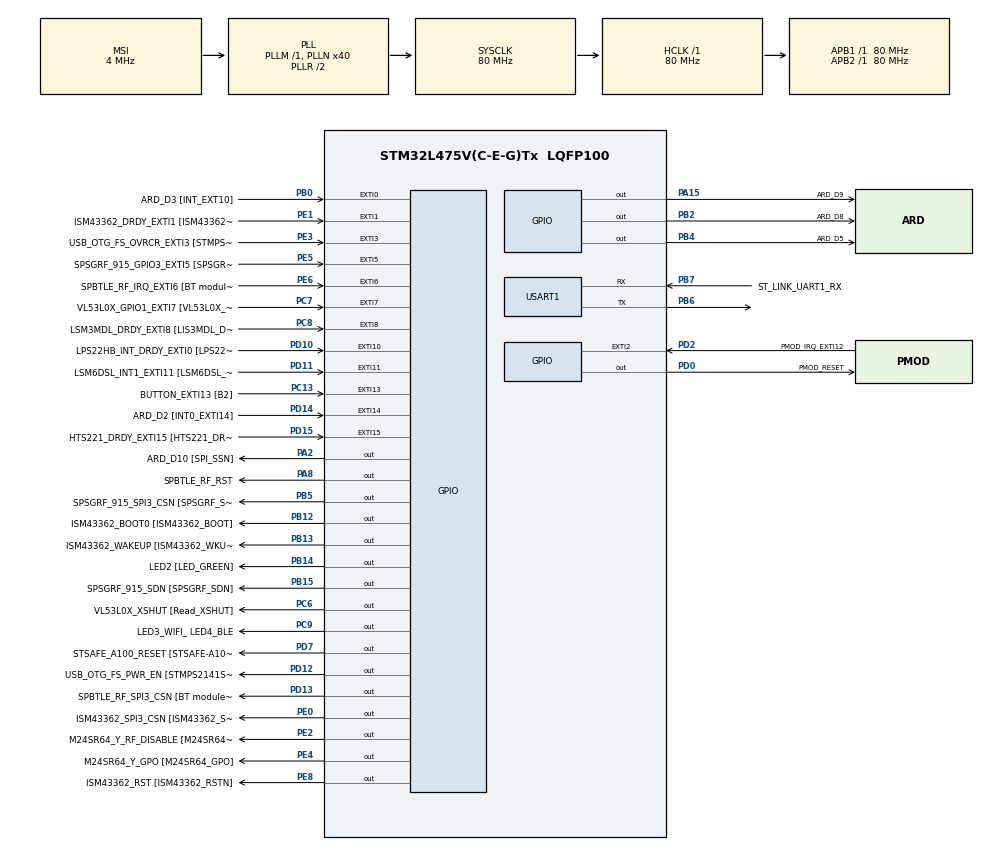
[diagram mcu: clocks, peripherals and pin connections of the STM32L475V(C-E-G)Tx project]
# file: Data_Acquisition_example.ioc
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ADC1.Channel-0\#ChannelRegularConversion=ADC_CHANNEL_TEMPSENSOR
ADC1.ContinuousConvMode=ENABLE
ADC1.DMAContinuousRequests=DISABLE
ADC1.ExternalTrigConv=ADC_EXTERNALTRIG_T1_TRGO
ADC1.NbrOfConversionFlag=1
ADC1.OffsetNumber-0\#ChannelRegularConversion=ADC_OFFSET_NONE
ADC1.Rank-0\#ChannelRegularConversion=1
ADC1.SamplingTime-0\#ChannelRegularConversion=ADC_SAMPLETIME_640CYCLES_5
ADC1.master=1
Dma.ADC1.0.Direction=DMA_PERIPH_TO_MEMORY
Dma.ADC1.0.Instance=DMA1_Channel1
Dma.ADC1.0.MemDataAlignment=DMA_MDATAALIGN_HALFWORD
Dma.ADC1.0.MemInc=DMA_MINC_ENABLE
Dma.ADC1.0.Mode=DMA_CIRCULAR
Dma.ADC1.0.PeriphDataAlignment=DMA_PDATAALIGN_HALFWORD
Dma.ADC1.0.PeriphInc=DMA_PINC_DISABLE
Dma.ADC1.0.Priority=DMA_PRIORITY_LOW
Dma.Request0=ADC1
FREERTOS.Queues01=adcqueue,4,uint8_t,0,Dynamic,NULL,NULL
FREERTOS.Tasks01=defaultTask,24,512,StartDefaultTask,Default,NULL,Dynamic,NULL,NULL
Mcu.Family=STM32L4
Mcu.Name=STM32L475V(C-E-G)Tx
Mcu.Package=LQFP100
NVIC.ADC1_2_IRQn=true\:5\:0\:true\:false\:true\:true\:true\:true\:true
NVIC.DMA1_Channel1_IRQn=true\:5\:0\:false\:false\:true\:true\:false\:true\:true
NVIC.EXTI15_10_IRQn=true\:5\:0\:true\:false\:true\:true\:true\:true\:true
NVIC.EXTI9_5_IRQn=true\:5\:0\:false\:false\:true\:true\:true\:true\:true
NVIC.PriorityGroup=NVIC_PRIORITYGROUP_4
NVIC.TIM6_DAC_IRQn=true\:15\:0\:false\:false\:true\:false\:false\:true\:true
NVIC.TimeBase=TIM6_DAC_IRQn
NVIC.TimeBaseIP=TIM6
PA0.GPIO_Label=ARD_D1 [UART4_TX]
PA0.Signal=UART4_TX
PA1.GPIO_Label=ARD_D0 [UART4_RX]
PA1.Signal=UART4_RX
PA10.GPIO_Label=USB_OTG_FS_ID
PA10.Signal=USB_OTG_FS_ID
PA11.GPIO_Label=USB_OTG_FS_DM
PA11.Signal=USB_OTG_FS_DM
PA12.GPIO_Label=USB_OTG_FS_DP
PA12.Signal=USB_OTG_FS_DP
PA13\ (JTMS-SWDIO).GPIO_Label=SYS_JTMS_SWDIO
PA13\ (JTMS-SWDIO).Mode=Serial_Wire
PA13\ (JTMS-SWDIO).Signal=SYS_JTMS-SWDIO
PA14\ (JTCK-SWCLK).GPIO_Label=SYS_JTCK_SWCLK
PA14\ (JTCK-SWCLK).Mode=Serial_Wire
PA14\ (JTCK-SWCLK).Signal=SYS_JTCK-SWCLK
PA15\ (JTDI).GPIO_Label=ARD_D9
PA15\ (JTDI).Signal=GPIO_Output
PA2.GPIO_Label=ARD_D10 [SPI_SSN]
PA2.Signal=GPIO_Output
PA3.GPIO_Label=ARD_D4
PA3.Signal=S_TIM2_CH4
PA4.GPIO_Label=ARD_D7
PA4.Signal=ADCx_IN9
PA5.GPIO_Label=ARD_D13 [SPI1_SCK]
PA5.Signal=SPI1_SCK
PA6.GPIO_Label=ARD_D12 [SPI1_MISO]
PA6.Signal=SPI1_MISO
PA7.GPIO_Label=ARD_D11 [SPI1_MOSI]
PA7.Signal=SPI1_MOSI
PA8.GPIO_Label=SPBTLE_RF_RST
PA8.Signal=GPIO_Output
PA9.GPIO_Label=USB_OTG_FS_VBUS [STMPS2141STR_OUT]
PA9.Signal=USB_OTG_FS_VBUS
PB0.GPIO_Label=ARD_D3 [INT_EXT10]
PB0.Signal=GPXTI0
PB1.GPIO_Label=ARD_D6 [ADC1_IN6]
PB1.Signal=ADCx_IN16
PB10.GPIO_Label=INTERNAL_I2C2_SCL [VL53L0X_SCL]
PB10.Signal=I2C2_SCL
PB11.GPIO_Label=INTERNAL_I2C2_SDA [VL53L0X_SDA]
PB11.Signal=I2C2_SDA
PB12.GPIO_Label=ISM43362_BOOT0 [ISM43362_BOOT]
PB12.Signal=GPIO_Output
PB13.GPIO_Label=ISM43362_WAKEUP [ISM43362_WKUP]
PB13.Signal=GPIO_Output
PB14.GPIO_Label=LED2 [LED_GREEN]
PB14.Signal=GPIO_Output
PB15.GPIO_Label=SPSGRF_915_SDN [SPSGRF_SDN]
PB15.Signal=GPIO_Output
PB2.GPIO_Label=ARD_D8
PB2.Signal=GPIO_Output
PB3\ (JTDO-TRACESWO).GPIO_Label=SYS_JTD0_SWO
PB3\ (JTDO-TRACESWO).Signal=SYS_JTDO-SWO
PB4\ (NJTRST).GPIO_Label=ARD_D5
PB4\ (NJTRST).Signal=GPIO_Output
PB5.GPIO_Label=SPSGRF_915_SPI3_CSN [SPSGRF_SPI_CS]
PB5.PinState=GPIO_PIN_SET
PB5.Signal=GPIO_Output
PB6.Mode=Asynchronous
PB6.Signal=USART1_TX
PB7.GPIO_Label=ST_LINK_UART1_RX
PB7.Mode=Asynchronous
PB7.Signal=USART1_RX
PB8.GPIO_Label=ARD_D15 [I2C1_SCL]
PB8.Signal=I2C1_SCL
PB9.GPIO_Label=ARD_D14 [I2C1_SDA]
PB9.Signal=I2C1_SDA
PC0.GPIO_Label=ARD_A5 [ADC]
PC0.Signal=ADCx_IN1
PC1.GPIO_Label=ARD_A4 [ADC]
PC1.Signal=ADCx_IN2
PC10.GPIO_Label=INTERNAL_SPI3_SCK [BT module_SPI_SCLK] [ISM43362_SCK]
PC10.Signal=SPI3_SCK
PC11.GPIO_Label=INTERNAL_SPI3_MISO [BT module_SPI_MISO] [ISM43362_MISO]
PC11.Signal=SPI3_MISO
PC12.GPIO_Label=INTERNAL_SPI3_MOSI [BT module_SPI_MOSI] [ISM43362_MOSI]
PC12.Signal=SPI3_MOSI
PC13.GPIO_Label=BUTTON_EXTI13 [B2]
PC13.GPIO_ModeDefaultEXTI=GPIO_MODE_IT_FALLING
PC13.Signal=GPXTI13
PC14-OSC32_IN\ (PC14).Signal=RCC_OSC32_IN
PC15-OSC32_OUT\ (PC15).Signal=RCC_OSC32_OUT
PC2.GPIO_Label=ARD_A3 [ADC]
PC2.Signal=ADCx_IN3
PC3.GPIO_Label=ARD_A2 [ADC]
PC3.Signal=ADCx_IN4
PC4.GPIO_Label=ARD_A1 [ADC]
PC4.Signal=ADCx_IN13
PC5.GPIO_Label=ARD_A0 [ADC]
PC5.Signal=ADCx_IN14
PC6.GPIO_Label=VL53L0X_XSHUT [Read_XSHUT]
PC6.Signal=GPIO_Output
PC7.GPIO_Label=VL53L0X_GPIO1_EXTI7 [VL53L0X_GPIO1]
PC7.Signal=GPXTI7
PC8.GPIO_Label=LSM3MDL_DRDY_EXTI8 [LIS3MDL_DRDY]
PC8.Signal=GPXTI8
PC9.GPIO_Label=LED3_WIFI_ LED4_BLE
PC9.Signal=GPIO_Output
PD0.GPIO_Label=PMOD_RESET
PD0.Signal=GPIO_Output
PD1.GPIO_Label=PMOD_SPI2_SCK
PD1.Signal=SPI2_SCK
PD10.GPIO_Label=LPS22HB_INT_DRDY_EXTI0 [LPS22HB_INT_DRDY] 
PD10.Signal=GPXTI10
PD11.GPIO_Label=LSM6DSL_INT1_EXTI11 [LSM6DSL_INT1]
PD11.Signal=GPXTI11
PD12.GPIO_Label=USB_OTG_FS_PWR_EN [STMPS2141STR_EN]
PD12.Signal=GPIO_Output
PD13.GPIO_Label=SPBTLE_RF_SPI3_CSN [BT module_SPI_CS]
PD13.PinState=GPIO_PIN_SET
PD13.Signal=GPIO_Output
PD14.GPIO_Label=ARD_D2 [INT0_EXTI14]
PD14.Signal=GPXTI14
PD15.GPIO_Label=HTS221_DRDY_EXTI15 [HTS221_DRDY]
PD15.Signal=GPXTI15
PD2.GPIO_Label=PMOD_IRQ_EXTI12
PD2.Signal=GPXTI2
PD3.GPIO_Label=PMOD_UART2_CTS
PD3.Signal=USART2_CTS
PD4.GPIO_Label=PMOD_UART2_RTS
PD4.Signal=USART2_RTS
PD5.GPIO_Label=PMOD_UART2_TX
PD5.Signal=USART2_TX
PD6.GPIO_Label=PMOD_UART2_RX
PD6.Signal=USART2_RX
PD7.GPIO_Label=STSAFE_A100_RESET [STSAFE-A100_RESET]
PD7.Signal=GPIO_Output
PD8.GPIO_Label=INTERNAL_UART3_TX [ISM43362_RX]
PD8.Signal=USART3_TX
PD9.GPIO_Label=INTERNAL_UART3_RX [ISM43362_TX]
PD9.Signal=USART3_RX
PE0.GPIO_Label=ISM43362_SPI3_CSN [ISM43362_SSN]
PE0.PinState=GPIO_PIN_SET
PE0.Signal=GPIO_Output
PE1.GPIO_Label=ISM43362_DRDY_EXTI1 [ISM43362_DATARDY]
PE1.Signal=GPXTI1
PE10.GPIO_Label=QUADSPI_CLK [MX25R6435F_SCLK]
PE10.Signal=QUADSPI_CLK
PE11.GPIO_Label=QUADSPI_NCS [MX25R6435F_SCLK]
PE11.Signal=QUADSPI_NCS
PE12.GPIO_Label=OQUADSPI_BK1_IO0 [MX25R6435F_IO0]
PE12.Signal=QUADSPI_BK1_IO0
PE13.GPIO_Label=QUADSPI_BK1_IO1 [MX25R6435F_IO1]
PE13.Signal=QUADSPI_BK1_IO1
PE14.GPIO_Label=QUAD_SPI_BK1_IO2 [MX25R6435F_IO2]
PE14.Signal=QUADSPI_BK1_IO2
PE15.GPIO_Label=QUAD_SPI_BK1_IO3 [MX25R6435F_IO3]
PE15.Signal=QUADSPI_BK1_IO3
PE2.GPIO_Label=M24SR64_Y_RF_DISABLE [M24SR64_RFDIS]
PE2.Signal=GPIO_Output
PE3.GPIO_Label=USB_OTG_FS_OVRCR_EXTI3 [STMPS2141STR_FAULT]
PE3.Signal=GPXTI3
PE4.GPIO_Label=M24SR64_Y_GPO [M24SR64_GPO]
PE4.Signal=GPIO_Output
PE5.GPIO_Label=SPSGRF_915_GPIO3_EXTI5 [SPSGRF_GPIO_3]
PE5.Signal=GPXTI5
PE6.GPIO_Label=SPBTLE_RF_IRQ_EXTI6 [BT module_SPI_IRQ]
PE6.Signal=GPXTI6
PE7.GPIO_Label=DFSDM1_DATIN2 [MP34DT01_DOUT]
PE7.Signal=S_DATAIN2DFSDM1
PE8.GPIO_Label=ISM43362_RST [ISM43362_RSTN]
PE8.Signal=GPIO_Output
PE9.GPIO_Label=DFSDM1_CKOUT [MP34DT01_CLK]
PE9.Signal=S_CKOUTDFSDM1
ProjectManager.HeapSize=0x200
ProjectManager.StackSize=0x400
ProjectManager.TargetToolchain=STM32CubeIDE
RCC.ADCFreq_Value=48000000
RCC.AHBFreq_Value=80000000
RCC.APB1Freq_Value=80000000
RCC.APB1TimFreq_Value=80000000
RCC.APB2Freq_Value=80000000
RCC.APB2TimFreq_Value=80000000
RCC.CortexFreq_Value=80000000
RCC.HCLKFreq_Value=80000000
RCC.HSE_VALUE=8000000
RCC.HSI_VALUE=16000000
RCC.LSE_VALUE=32768
RCC.MSI_VALUE=4000000
RCC.PLLN=40
RCC.PLLSAI1N=24
RCC.SYSCLKFreq_VALUE=80000000
RCC.SYSCLKSource=RCC_SYSCLKSOURCE_PLLCLK
RCC.USBFreq_Value=48000000
RCC.VCOOutputFreq_Value=160000000
SH.ADCx_IN1.0=ADC1_IN1
SH.ADCx_IN13.0=ADC1_IN13
SH.ADCx_IN14.0=ADC1_IN14
SH.ADCx_IN16.0=ADC1_IN16
SH.ADCx_IN2.0=ADC1_IN2
SH.ADCx_IN3.0=ADC1_IN3
SH.ADCx_IN4.0=ADC1_IN4
SH.ADCx_IN9.0=ADC1_IN9
SH.S_CKOUTDFSDM1.0=DFSDM1_CKOUT
SH.S_DATAIN2DFSDM1.0=DFSDM1_DATIN2
SH.S_TIM2_CH4.0=TIM2_CH4
TIM1.Period=100-1
TIM1.Prescaler=8000-1
TIM1.TIM_MasterOutputTrigger=TIM_TRGO_UPDATE
TIM1.TIM_MasterOutputTrigger2=TIM_TRGO2_RESET
USART1.VirtualMode-Asynchronous=VM_ASYNC
VP_ADC1_TempSens_Input.Mode=IN-TempSens
VP_FREERTOS_VS_CMSIS_V2.Mode=CMSIS_V2
VP_SYS_VS_tim6.Mode=TIM6
VP_TIM1_VS_ClockSourceINT.Mode=Internal
board=B-L475E-IOT01A1

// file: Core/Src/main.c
/* USER CODE BEGIN Header */
/**
  ******************************************************************************
  * @file           : main.c
  * @brief          : Main program body
  ******************************************************************************
  * @attention
  *
  * Copyright (c) 2026 STMicroelectronics.
  * All rights reserved.
  *
  * This software is licensed under terms that can be found in the LICENSE file
  * in the root directory of this software component.
  * If no LICENSE file comes with this software, it is provided AS-IS.
  *
  ******************************************************************************
  */
/* USER CODE END Header */
#include "main.h"
#include "cmsis_os.h"

/* USER CODE BEGIN Includes */
#include <stdio.h>
/* USER CODE END Includes */

ADC_HandleTypeDef hadc1;
DMA_HandleTypeDef hdma_adc1;

TIM_HandleTypeDef htim1;

UART_HandleTypeDef huart1;

/* Definitions for defaultTask */
osThreadId_t defaultTaskHandle;
const osThreadAttr_t defaultTask_attributes = {
  .name = "defaultTask",
  .stack_size = 512 * 4,
  .priority = (osPriority_t) osPriorityNormal,
};
/* Definitions for adcqueue */
osMessageQueueId_t adcqueueHandle;
const osMessageQueueAttr_t adcqueue_attributes = {
  .name = "adcqueue"
};
/* USER CODE BEGIN PV */
#define SAMPLE_BUFFER_SIZE  32
uint16_t sample_buffer[SAMPLE_BUFFER_SIZE];
/* USER CODE END PV */

void SystemClock_Config(void);
static void MX_GPIO_Init(void);
static void MX_DMA_Init(void);
static void MX_ADC1_Init(void);
static void MX_USART1_UART_Init(void);
static void MX_TIM1_Init(void);
void StartDefaultTask(void *argument);

int main(void)
{

  /* MCU Configuration--------------------------------------------------------*/

  /* Reset of all peripherals, Initializes the Flash interface and the Systick. */
  HAL_Init();

  /* Configure the system clock */
  SystemClock_Config();

  /* Initialize all configured peripherals */
  MX_GPIO_Init();
  MX_DMA_Init();
  MX_ADC1_Init();
  MX_USART1_UART_Init();
  MX_TIM1_Init();

  /* Init scheduler */
  osKernelInitialize();

  /* Create the queue(s) */
  /* creation of adcqueue */
  adcqueueHandle = osMessageQueueNew (4, sizeof(uint8_t), &adcqueue_attributes);

  /* Create the thread(s) */
  /* creation of defaultTask */
  defaultTaskHandle = osThreadNew(StartDefaultTask, NULL, &defaultTask_attributes);

  /* Start scheduler */
  osKernelStart();

  /* We should never get here as control is now taken by the scheduler */

  /* Infinite loop */
  while (1)
  {

  }
}

void SystemClock_Config(void)
{
  RCC_OscInitTypeDef RCC_OscInitStruct = {0};
  RCC_ClkInitTypeDef RCC_ClkInitStruct = {0};

  /** Configure the main internal regulator output voltage
  */
  if (HAL_PWREx_ControlVoltageScaling(PWR_REGULATOR_VOLTAGE_SCALE1) != HAL_OK)
  {
    Error_Handler();
  }

  /** Initializes the RCC Oscillators according to the specified parameters
  * in the RCC_OscInitTypeDef structure.
  */
  RCC_OscInitStruct.OscillatorType = RCC_OSCILLATORTYPE_MSI;
  RCC_OscInitStruct.MSIState = RCC_MSI_ON;
  RCC_OscInitStruct.MSICalibrationValue = 0;
  RCC_OscInitStruct.MSIClockRange = RCC_MSIRANGE_6;
  RCC_OscInitStruct.PLL.PLLState = RCC_PLL_ON;
  RCC_OscInitStruct.PLL.PLLSource = RCC_PLLSOURCE_MSI;
  RCC_OscInitStruct.PLL.PLLM = 1;
  RCC_OscInitStruct.PLL.PLLN = 40;
  RCC_OscInitStruct.PLL.PLLP = RCC_PLLP_DIV7;
  RCC_OscInitStruct.PLL.PLLQ = RCC_PLLQ_DIV2;
  RCC_OscInitStruct.PLL.PLLR = RCC_PLLR_DIV2;
  if (HAL_RCC_OscConfig(&RCC_OscInitStruct) != HAL_OK)
  {
    Error_Handler();
  }

  /** Initializes the CPU, AHB and APB buses clocks
  */
  RCC_ClkInitStruct.ClockType = RCC_CLOCKTYPE_HCLK|RCC_CLOCKTYPE_SYSCLK
                              |RCC_CLOCKTYPE_PCLK1|RCC_CLOCKTYPE_PCLK2;
  RCC_ClkInitStruct.SYSCLKSource = RCC_SYSCLKSOURCE_PLLCLK;
  RCC_ClkInitStruct.AHBCLKDivider = RCC_SYSCLK_DIV1;
  RCC_ClkInitStruct.APB1CLKDivider = RCC_HCLK_DIV1;
  RCC_ClkInitStruct.APB2CLKDivider = RCC_HCLK_DIV1;

  if (HAL_RCC_ClockConfig(&RCC_ClkInitStruct, FLASH_LATENCY_4) != HAL_OK)
  {
    Error_Handler();
  }
}

static void MX_ADC1_Init(void)
{

  ADC_MultiModeTypeDef multimode = {0};
  ADC_ChannelConfTypeDef sConfig = {0};

  /** Common config
  */
  hadc1.Instance = ADC1;
  hadc1.Init.ClockPrescaler = ADC_CLOCK_ASYNC_DIV1;
  hadc1.Init.Resolution = ADC_RESOLUTION_12B;
  hadc1.Init.DataAlign = ADC_DATAALIGN_RIGHT;
  hadc1.Init.ScanConvMode = ADC_SCAN_DISABLE;
  hadc1.Init.EOCSelection = ADC_EOC_SINGLE_CONV;
  hadc1.Init.LowPowerAutoWait = DISABLE;
  hadc1.Init.ContinuousConvMode = DISABLE;
  hadc1.Init.NbrOfConversion = 1;
  hadc1.Init.DiscontinuousConvMode = DISABLE;
  hadc1.Init.ExternalTrigConv = ADC_EXTERNALTRIG_T1_TRGO;
  hadc1.Init.ExternalTrigConvEdge = ADC_EXTERNALTRIGCONVEDGE_RISING;
  hadc1.Init.DMAContinuousRequests = ENABLE;
  hadc1.Init.Overrun = ADC_OVR_DATA_PRESERVED;
  hadc1.Init.OversamplingMode = DISABLE;
  if (HAL_ADC_Init(&hadc1) != HAL_OK)
  {
    Error_Handler();
  }

  /** Configure the ADC multi-mode
  */
  multimode.Mode = ADC_MODE_INDEPENDENT;
  if (HAL_ADCEx_MultiModeConfigChannel(&hadc1, &multimode) != HAL_OK)
  {
    Error_Handler();
  }

  /** Configure Regular Channel
  */
  sConfig.Channel = ADC_CHANNEL_TEMPSENSOR;
  sConfig.Rank = ADC_REGULAR_RANK_1;
  sConfig.SamplingTime = ADC_SAMPLETIME_640CYCLES_5;
  sConfig.SingleDiff = ADC_SINGLE_ENDED;
  sConfig.OffsetNumber = ADC_OFFSET_NONE;
  sConfig.Offset = 0;
  if (HAL_ADC_ConfigChannel(&hadc1, &sConfig) != HAL_OK)
  {
    Error_Handler();
  }

}

static void MX_TIM1_Init(void)
{

  TIM_ClockConfigTypeDef sClockSourceConfig = {0};
  TIM_MasterConfigTypeDef sMasterConfig = {0};

  htim1.Instance = TIM1;
  htim1.Init.Prescaler = 8000-1;
  htim1.Init.CounterMode = TIM_COUNTERMODE_UP;
  htim1.Init.Period = 1000-1;
  htim1.Init.ClockDivision = TIM_CLOCKDIVISION_DIV1;
  htim1.Init.RepetitionCounter = 0;
  htim1.Init.AutoReloadPreload = TIM_AUTORELOAD_PRELOAD_DISABLE;
  if (HAL_TIM_Base_Init(&htim1) != HAL_OK)
  {
    Error_Handler();
  }
  sClockSourceConfig.ClockSource = TIM_CLOCKSOURCE_INTERNAL;
  if (HAL_TIM_ConfigClockSource(&htim1, &sClockSourceConfig) != HAL_OK)
  {
    Error_Handler();
  }
  sMasterConfig.MasterOutputTrigger = TIM_TRGO_UPDATE;
  sMasterConfig.MasterOutputTrigger2 = TIM_TRGO2_RESET;
  sMasterConfig.MasterSlaveMode = TIM_MASTERSLAVEMODE_DISABLE;
  if (HAL_TIMEx_MasterConfigSynchronization(&htim1, &sMasterConfig) != HAL_OK)
  {
    Error_Handler();
  }

}

static void MX_USART1_UART_Init(void)
{

  huart1.Instance = USART1;
  huart1.Init.BaudRate = 115200;
  huart1.Init.WordLength = UART_WORDLENGTH_8B;
  huart1.Init.StopBits = UART_STOPBITS_1;
  huart1.Init.Parity = UART_PARITY_NONE;
  huart1.Init.Mode = UART_MODE_TX_RX;
  huart1.Init.HwFlowCtl = UART_HWCONTROL_NONE;
  huart1.Init.OverSampling = UART_OVERSAMPLING_16;
  huart1.Init.OneBitSampling = UART_ONE_BIT_SAMPLE_DISABLE;
  huart1.AdvancedInit.AdvFeatureInit = UART_ADVFEATURE_NO_INIT;
  if (HAL_UART_Init(&huart1) != HAL_OK)
  {
    Error_Handler();
  }

}

static void MX_DMA_Init(void)
{

  /* DMA controller clock enable */
  __HAL_RCC_DMA1_CLK_ENABLE();

  /* DMA interrupt init */
  /* DMA1_Channel1_IRQn interrupt configuration */
  HAL_NVIC_SetPriority(DMA1_Channel1_IRQn, 5, 0);
  HAL_NVIC_EnableIRQ(DMA1_Channel1_IRQn);

}

static void MX_GPIO_Init(void)
{
  GPIO_InitTypeDef GPIO_InitStruct = {0};

  /* GPIO Ports Clock Enable */
  __HAL_RCC_GPIOE_CLK_ENABLE();
  __HAL_RCC_GPIOC_CLK_ENABLE();
  __HAL_RCC_GPIOA_CLK_ENABLE();
  __HAL_RCC_GPIOB_CLK_ENABLE();
  __HAL_RCC_GPIOD_CLK_ENABLE();

  /*Configure GPIO pin Output Level */
  HAL_GPIO_WritePin(GPIOE, M24SR64_Y_RF_DISABLE_Pin|M24SR64_Y_GPO_Pin|ISM43362_RST_Pin, GPIO_PIN_RESET);

  /*Configure GPIO pin Output Level */
  HAL_GPIO_WritePin(GPIOA, ARD_D10_Pin|SPBTLE_RF_RST_Pin|ARD_D9_Pin, GPIO_PIN_RESET);

  /*Configure GPIO pin Output Level */
  HAL_GPIO_WritePin(GPIOB, ARD_D8_Pin|ISM43362_BOOT0_Pin|ISM43362_WAKEUP_Pin|LED2_Pin
                          |SPSGRF_915_SDN_Pin|ARD_D5_Pin, GPIO_PIN_RESET);

  /*Configure GPIO pin Output Level */
  HAL_GPIO_WritePin(GPIOD, USB_OTG_FS_PWR_EN_Pin|PMOD_RESET_Pin|STSAFE_A100_RESET_Pin, GPIO_PIN_RESET);

  /*Configure GPIO pin Output Level */
  HAL_GPIO_WritePin(SPBTLE_RF_SPI3_CSN_GPIO_Port, SPBTLE_RF_SPI3_CSN_Pin, GPIO_PIN_SET);

  /*Configure GPIO pin Output Level */
  HAL_GPIO_WritePin(GPIOC, VL53L0X_XSHUT_Pin|LED3_WIFI__LED4_BLE_Pin, GPIO_PIN_RESET);

  /*Configure GPIO pin Output Level */
  HAL_GPIO_WritePin(SPSGRF_915_SPI3_CSN_GPIO_Port, SPSGRF_915_SPI3_CSN_Pin, GPIO_PIN_SET);

  /*Configure GPIO pin Output Level */
  HAL_GPIO_WritePin(ISM43362_SPI3_CSN_GPIO_Port, ISM43362_SPI3_CSN_Pin, GPIO_PIN_SET);

  /*Configure GPIO pins : M24SR64_Y_RF_DISABLE_Pin M24SR64_Y_GPO_Pin ISM43362_RST_Pin ISM43362_SPI3_CSN_Pin */
  GPIO_InitStruct.Pin = M24SR64_Y_RF_DISABLE_Pin|M24SR64_Y_GPO_Pin|ISM43362_RST_Pin|ISM43362_SPI3_CSN_Pin;
  GPIO_InitStruct.Mode = GPIO_MODE_OUTPUT_PP;
  GPIO_InitStruct.Pull = GPIO_NOPULL;
  GPIO_InitStruct.Speed = GPIO_SPEED_FREQ_LOW;
  HAL_GPIO_Init(GPIOE, &GPIO_InitStruct);

  /*Configure GPIO pins : USB_OTG_FS_OVRCR_EXTI3_Pin SPSGRF_915_GPIO3_EXTI5_Pin SPBTLE_RF_IRQ_EXTI6_Pin ISM43362_DRDY_EXTI1_Pin */
  GPIO_InitStruct.Pin = USB_OTG_FS_OVRCR_EXTI3_Pin|SPSGRF_915_GPIO3_EXTI5_Pin|SPBTLE_RF_IRQ_EXTI6_Pin|ISM43362_DRDY_EXTI1_Pin;
  GPIO_InitStruct.Mode = GPIO_MODE_IT_RISING;
  GPIO_InitStruct.Pull = GPIO_NOPULL;
  HAL_GPIO_Init(GPIOE, &GPIO_InitStruct);

  /*Configure GPIO pin : BUTTON_EXTI13_Pin */
  GPIO_InitStruct.Pin = BUTTON_EXTI13_Pin;
  GPIO_InitStruct.Mode = GPIO_MODE_IT_FALLING;
  GPIO_InitStruct.Pull = GPIO_NOPULL;
  HAL_GPIO_Init(BUTTON_EXTI13_GPIO_Port, &GPIO_InitStruct);

  /*Configure GPIO pins : ARD_D1_Pin ARD_D0_Pin */
  GPIO_InitStruct.Pin = ARD_D1_Pin|ARD_D0_Pin;
  GPIO_InitStruct.Mode = GPIO_MODE_AF_PP;
  GPIO_InitStruct.Pull = GPIO_NOPULL;
  GPIO_InitStruct.Speed = GPIO_SPEED_FREQ_VERY_HIGH;
  GPIO_InitStruct.Alternate = GPIO_AF8_UART4;
  HAL_GPIO_Init(GPIOA, &GPIO_InitStruct);

  /*Configure GPIO pins : ARD_D10_Pin SPBTLE_RF_RST_Pin ARD_D9_Pin */
  GPIO_InitStruct.Pin = ARD_D10_Pin|SPBTLE_RF_RST_Pin|ARD_D9_Pin;
  GPIO_InitStruct.Mode = GPIO_MODE_OUTPUT_PP;
  GPIO_InitStruct.Pull = GPIO_NOPULL;
  GPIO_InitStruct.Speed = GPIO_SPEED_FREQ_LOW;
  HAL_GPIO_Init(GPIOA, &GPIO_InitStruct);

  /*Configure GPIO pin : ARD_D4_Pin */
  GPIO_InitStruct.Pin = ARD_D4_Pin;
  GPIO_InitStruct.Mode = GPIO_MODE_AF_PP;
  GPIO_InitStruct.Pull = GPIO_NOPULL;
  GPIO_InitStruct.Speed = GPIO_SPEED_FREQ_LOW;
  GPIO_InitStruct.Alternate = GPIO_AF1_TIM2;
  HAL_GPIO_Init(ARD_D4_GPIO_Port, &GPIO_InitStruct);

  /*Configure GPIO pins : ARD_D13_Pin ARD_D12_Pin ARD_D11_Pin */
  GPIO_InitStruct.Pin = ARD_D13_Pin|ARD_D12_Pin|ARD_D11_Pin;
  GPIO_InitStruct.Mode = GPIO_MODE_AF_PP;
  GPIO_InitStruct.Pull = GPIO_NOPULL;
  GPIO_InitStruct.Speed = GPIO_SPEED_FREQ_VERY_HIGH;
  GPIO_InitStruct.Alternate = GPIO_AF5_SPI1;
  HAL_GPIO_Init(GPIOA, &GPIO_InitStruct);

  /*Configure GPIO pin : ARD_D3_Pin */
  GPIO_InitStruct.Pin = ARD_D3_Pin;
  GPIO_InitStruct.Mode = GPIO_MODE_IT_RISING;
  GPIO_InitStruct.Pull = GPIO_NOPULL;
  HAL_GPIO_Init(ARD_D3_GPIO_Port, &GPIO_InitStruct);

  /*Configure GPIO pins : ARD_D8_Pin ISM43362_BOOT0_Pin ISM43362_WAKEUP_Pin LED2_Pin
                           SPSGRF_915_SDN_Pin ARD_D5_Pin SPSGRF_915_SPI3_CSN_Pin */
  GPIO_InitStruct.Pin = ARD_D8_Pin|ISM43362_BOOT0_Pin|ISM43362_WAKEUP_Pin|LED2_Pin
                          |SPSGRF_915_SDN_Pin|ARD_D5_Pin|SPSGRF_915_SPI3_CSN_Pin;
  GPIO_InitStruct.Mode = GPIO_MODE_OUTPUT_PP;
  GPIO_InitStruct.Pull = GPIO_NOPULL;
  GPIO_InitStruct.Speed = GPIO_SPEED_FREQ_LOW;
  HAL_GPIO_Init(GPIOB, &GPIO_InitStruct);

  /*Configure GPIO pins : DFSDM1_DATIN2_Pin DFSDM1_CKOUT_Pin */
  GPIO_InitStruct.Pin = DFSDM1_DATIN2_Pin|DFSDM1_CKOUT_Pin;
  GPIO_InitStruct.Mode = GPIO_MODE_AF_PP;
  GPIO_InitStruct.Pull = GPIO_NOPULL;
  GPIO_InitStruct.Speed = GPIO_SPEED_FREQ_LOW;
  GPIO_InitStruct.Alternate = GPIO_AF6_DFSDM1;
  HAL_GPIO_Init(GPIOE, &GPIO_InitStruct);

  /*Configure GPIO pins : QUADSPI_CLK_Pin QUADSPI_NCS_Pin OQUADSPI_BK1_IO0_Pin QUADSPI_BK1_IO1_Pin
                           QUAD_SPI_BK1_IO2_Pin QUAD_SPI_BK1_IO3_Pin */
  GPIO_InitStruct.Pin = QUADSPI_CLK_Pin|QUADSPI_NCS_Pin|OQUADSPI_BK1_IO0_Pin|QUADSPI_BK1_IO1_Pin
                          |QUAD_SPI_BK1_IO2_Pin|QUAD_SPI_BK1_IO3_Pin;
  GPIO_InitStruct.Mode = GPIO_MODE_AF_PP;
  GPIO_InitStruct.Pull = GPIO_NOPULL;
  GPIO_InitStruct.Speed = GPIO_SPEED_FREQ_VERY_HIGH;
  GPIO_InitStruct.Alternate = GPIO_AF10_QUADSPI;
  HAL_GPIO_Init(GPIOE, &GPIO_InitStruct);

  /*Configure GPIO pins : INTERNAL_I2C2_SCL_Pin INTERNAL_I2C2_SDA_Pin */
  GPIO_InitStruct.Pin = INTERNAL_I2C2_SCL_Pin|INTERNAL_I2C2_SDA_Pin;
  GPIO_InitStruct.Mode = GPIO_MODE_AF_OD;
  GPIO_InitStruct.Pull = GPIO_NOPULL;
  GPIO_InitStruct.Speed = GPIO_SPEED_FREQ_VERY_HIGH;
  GPIO_InitStruct.Alternate = GPIO_AF4_I2C2;
  HAL_GPIO_Init(GPIOB, &GPIO_InitStruct);

  /*Configure GPIO pins : INTERNAL_UART3_TX_Pin INTERNAL_UART3_RX_Pin */
  GPIO_InitStruct.Pin = INTERNAL_UART3_TX_Pin|INTERNAL_UART3_RX_Pin;
  GPIO_InitStruct.Mode = GPIO_MODE_AF_PP;
  GPIO_InitStruct.Pull = GPIO_NOPULL;
  GPIO_InitStruct.Speed = GPIO_SPEED_FREQ_VERY_HIGH;
  GPIO_InitStruct.Alternate = GPIO_AF7_USART3;
  HAL_GPIO_Init(GPIOD, &GPIO_InitStruct);

  /*Configure GPIO pins : LPS22HB_INT_DRDY_EXTI0_Pin LSM6DSL_INT1_EXTI11_Pin ARD_D2_Pin HTS221_DRDY_EXTI15_Pin
                           PMOD_IRQ_EXTI12_Pin */
  GPIO_InitStruct.Pin = LPS22HB_INT_DRDY_EXTI0_Pin|LSM6DSL_INT1_EXTI11_Pin|ARD_D2_Pin|HTS221_DRDY_EXTI15_Pin
                          |PMOD_IRQ_EXTI12_Pin;
  GPIO_InitStruct.Mode = GPIO_MODE_IT_RISING;
  GPIO_InitStruct.Pull = GPIO_NOPULL;
  HAL_GPIO_Init(GPIOD, &GPIO_InitStruct);

  /*Configure GPIO pins : USB_OTG_FS_PWR_EN_Pin SPBTLE_RF_SPI3_CSN_Pin PMOD_RESET_Pin STSAFE_A100_RESET_Pin */
  GPIO_InitStruct.Pin = USB_OTG_FS_PWR_EN_Pin|SPBTLE_RF_SPI3_CSN_Pin|PMOD_RESET_Pin|STSAFE_A100_RESET_Pin;
  GPIO_InitStruct.Mode = GPIO_MODE_OUTPUT_PP;
  GPIO_InitStruct.Pull = GPIO_NOPULL;
  GPIO_InitStruct.Speed = GPIO_SPEED_FREQ_LOW;
  HAL_GPIO_Init(GPIOD, &GPIO_InitStruct);

  /*Configure GPIO pins : VL53L0X_XSHUT_Pin LED3_WIFI__LED4_BLE_Pin */
  GPIO_InitStruct.Pin = VL53L0X_XSHUT_Pin|LED3_WIFI__LED4_BLE_Pin;
  GPIO_InitStruct.Mode = GPIO_MODE_OUTPUT_PP;
  GPIO_InitStruct.Pull = GPIO_NOPULL;
  GPIO_InitStruct.Speed = GPIO_SPEED_FREQ_LOW;
  HAL_GPIO_Init(GPIOC, &GPIO_InitStruct);

  /*Configure GPIO pins : VL53L0X_GPIO1_EXTI7_Pin LSM3MDL_DRDY_EXTI8_Pin */
  GPIO_InitStruct.Pin = VL53L0X_GPIO1_EXTI7_Pin|LSM3MDL_DRDY_EXTI8_Pin;
  GPIO_InitStruct.Mode = GPIO_MODE_IT_RISING;
  GPIO_InitStruct.Pull = GPIO_NOPULL;
  HAL_GPIO_Init(GPIOC, &GPIO_InitStruct);

  /*Configure GPIO pin : USB_OTG_FS_VBUS_Pin */
  GPIO_InitStruct.Pin = USB_OTG_FS_VBUS_Pin;
  GPIO_InitStruct.Mode = GPIO_MODE_INPUT;
  GPIO_InitStruct.Pull = GPIO_NOPULL;
  HAL_GPIO_Init(USB_OTG_FS_VBUS_GPIO_Port, &GPIO_InitStruct);

  /*Configure GPIO pins : USB_OTG_FS_ID_Pin USB_OTG_FS_DM_Pin USB_OTG_FS_DP_Pin */
  GPIO_InitStruct.Pin = USB_OTG_FS_ID_Pin|USB_OTG_FS_DM_Pin|USB_OTG_FS_DP_Pin;
  GPIO_InitStruct.Mode = GPIO_MODE_AF_PP;
  GPIO_InitStruct.Pull = GPIO_NOPULL;
  GPIO_InitStruct.Speed = GPIO_SPEED_FREQ_VERY_HIGH;
  GPIO_InitStruct.Alternate = GPIO_AF10_OTG_FS;
  HAL_GPIO_Init(GPIOA, &GPIO_InitStruct);

  /*Configure GPIO pins : INTERNAL_SPI3_SCK_Pin INTERNAL_SPI3_MISO_Pin INTERNAL_SPI3_MOSI_Pin */
  GPIO_InitStruct.Pin = INTERNAL_SPI3_SCK_Pin|INTERNAL_SPI3_MISO_Pin|INTERNAL_SPI3_MOSI_Pin;
  GPIO_InitStruct.Mode = GPIO_MODE_AF_PP;
  GPIO_InitStruct.Pull = GPIO_NOPULL;
  GPIO_InitStruct.Speed = GPIO_SPEED_FREQ_VERY_HIGH;
  GPIO_InitStruct.Alternate = GPIO_AF6_SPI3;
  HAL_GPIO_Init(GPIOC, &GPIO_InitStruct);

  /*Configure GPIO pin : PMOD_SPI2_SCK_Pin */
  GPIO_InitStruct.Pin = PMOD_SPI2_SCK_Pin;
  GPIO_InitStruct.Mode = GPIO_MODE_AF_PP;
  GPIO_InitStruct.Pull = GPIO_NOPULL;
  GPIO_InitStruct.Speed = GPIO_SPEED_FREQ_VERY_HIGH;
  GPIO_InitStruct.Alternate = GPIO_AF5_SPI2;
  HAL_GPIO_Init(PMOD_SPI2_SCK_GPIO_Port, &GPIO_InitStruct);

  /*Configure GPIO pins : PMOD_UART2_CTS_Pin PMOD_UART2_RTS_Pin PMOD_UART2_TX_Pin PMOD_UART2_RX_Pin */
  GPIO_InitStruct.Pin = PMOD_UART2_CTS_Pin|PMOD_UART2_RTS_Pin|PMOD_UART2_TX_Pin|PMOD_UART2_RX_Pin;
  GPIO_InitStruct.Mode = GPIO_MODE_AF_PP;
  GPIO_InitStruct.Pull = GPIO_NOPULL;
  GPIO_InitStruct.Speed = GPIO_SPEED_FREQ_VERY_HIGH;
  GPIO_InitStruct.Alternate = GPIO_AF7_USART2;
  HAL_GPIO_Init(GPIOD, &GPIO_InitStruct);

  /*Configure GPIO pins : ARD_D15_Pin ARD_D14_Pin */
  GPIO_InitStruct.Pin = ARD_D15_Pin|ARD_D14_Pin;
  GPIO_InitStruct.Mode = GPIO_MODE_AF_OD;
  GPIO_InitStruct.Pull = GPIO_NOPULL;
  GPIO_InitStruct.Speed = GPIO_SPEED_FREQ_VERY_HIGH;
  GPIO_InitStruct.Alternate = GPIO_AF4_I2C1;
  HAL_GPIO_Init(GPIOB, &GPIO_InitStruct);

  /* EXTI interrupt init*/
  HAL_NVIC_SetPriority(EXTI9_5_IRQn, 5, 0);
  HAL_NVIC_EnableIRQ(EXTI9_5_IRQn);

  HAL_NVIC_SetPriority(EXTI15_10_IRQn, 5, 0);
  HAL_NVIC_EnableIRQ(EXTI15_10_IRQn);

}

/* USER CODE BEGIN 4 */
int _write(int file, char *ptr, int len)
{
    HAL_UART_Transmit(&huart1, (uint8_t*)ptr, len, HAL_MAX_DELAY);
    return len;
}
void HAL_ADC_ConvHalfCpltCallback(ADC_HandleTypeDef* hadc)    // 前半 (top half) 填滿
{
    if (hadc->Instance == ADC1)
    {
        uint8_t msg = 0;
        osMessageQueuePut(adcqueueHandle, &msg, 0, 0);        // 在 ISR 裡 timeout 必須是 0
    }
}

void HAL_ADC_ConvCpltCallback(ADC_HandleTypeDef* hadc)        // 後半 (bottom half) 填滿
{
    if (hadc->Instance == ADC1)
    {
        uint8_t msg = 1;
        osMessageQueuePut(adcqueueHandle, &msg, 0, 0);
    }
}

/* USER CODE END 4 */

void StartDefaultTask(void *argument)
{
  /* USER CODE BEGIN 5 */
  /* Infinite loop */
	HAL_ADCEx_Calibration_Start(&hadc1, ADC_SINGLE_ENDED);
	HAL_ADC_Start_DMA(&hadc1, (uint32_t*)sample_buffer, SAMPLE_BUFFER_SIZE);
	HAL_TIM_Base_Start(&htim1);

	for(;;)
	{
	    uint8_t msg;
	    osMessageQueueGet(adcqueueHandle, &msg, NULL, osWaitForever);

	    uint16_t *p = &sample_buffer[msg ? SAMPLE_BUFFER_SIZE / 2 : 0];
	    printf("--- %s half ---\r\n", msg ? "bottom" : "top");
	    for (int i = 0; i < SAMPLE_BUFFER_SIZE / 2; i++)
	    {
	        int32_t temp = __HAL_ADC_CALC_TEMPERATURE(3300, p[i], ADC_RESOLUTION_12B);
	        printf("%u, %ld C\r\n", p[i], (long)temp);
	    }
	}
  /* USER CODE END 5 */
}

void HAL_TIM_PeriodElapsedCallback(TIM_HandleTypeDef *htim)
{
  if (htim->Instance == TIM6)
  {
    HAL_IncTick();
  }
}

void Error_Handler(void)
{
  __disable_irq();
  while (1)
  {
  }
}
